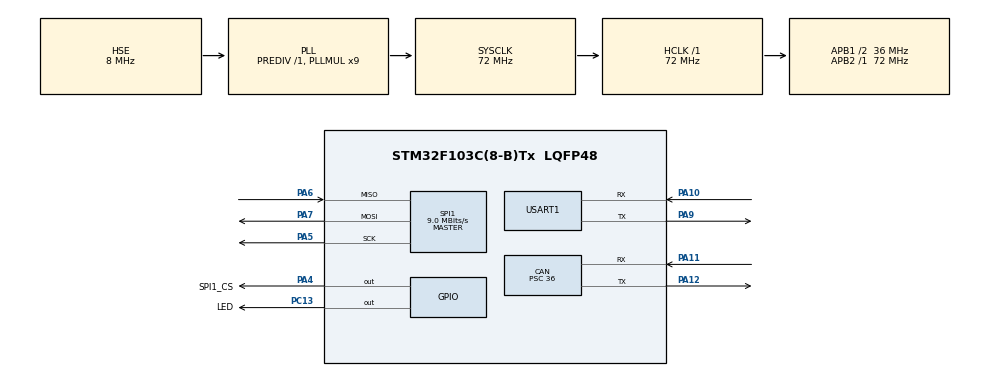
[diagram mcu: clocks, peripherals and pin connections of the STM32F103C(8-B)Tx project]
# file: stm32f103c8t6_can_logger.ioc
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CAN.BS1=CAN_BS1_3TQ
CAN.BS2=CAN_BS2_4TQ
CAN.CalculateBaudRate=125000
CAN.CalculateTimeBit=8000
CAN.CalculateTimeQuantum=1000.0
CAN.Prescaler=36
Mcu.Family=STM32F1
Mcu.Name=STM32F103C(8-B)Tx
Mcu.Package=LQFP48
NVIC.PriorityGroup=NVIC_PRIORITYGROUP_4
NVIC.USB_LP_CAN1_RX0_IRQn=true\:0\:0\:false\:false\:true\:true\:true\:true
PA10.Mode=Asynchronous
PA10.Signal=USART1_RX
PA11.Mode=CAN_Activate
PA11.Signal=CAN_RX
PA12.Mode=CAN_Activate
PA12.Signal=CAN_TX
PA4.GPIO_Label=SPI1_CS
PA4.GPIO_PuPd=GPIO_PULLUP
PA4.GPIO_Speed=GPIO_SPEED_FREQ_HIGH
PA4.Signal=GPIO_Output
PA5.Mode=Full_Duplex_Master
PA5.Signal=SPI1_SCK
PA6.Mode=Full_Duplex_Master
PA6.Signal=SPI1_MISO
PA7.Mode=Full_Duplex_Master
PA7.Signal=SPI1_MOSI
PA9.Mode=Asynchronous
PA9.Signal=USART1_TX
PC13-TAMPER-RTC.GPIO_Label=LED
PC13-TAMPER-RTC.GPIO_PuPd=GPIO_PULLUP
PC13-TAMPER-RTC.GPIO_Speed=GPIO_SPEED_FREQ_MEDIUM
PC13-TAMPER-RTC.Signal=GPIO_Output
PD0-OSC_IN.Mode=HSE-External-Oscillator
PD0-OSC_IN.Signal=RCC_OSC_IN
PD1-OSC_OUT.Mode=HSE-External-Oscillator
PD1-OSC_OUT.Signal=RCC_OSC_OUT
ProjectManager.HeapSize=0x200
ProjectManager.StackSize=0x400
ProjectManager.TargetToolchain=STM32CubeIDE
RCC.AHBFreq_Value=72000000
RCC.APB1CLKDivider=RCC_HCLK_DIV2
RCC.APB1Freq_Value=36000000
RCC.APB1TimFreq_Value=72000000
RCC.APB2Freq_Value=72000000
RCC.APB2TimFreq_Value=72000000
RCC.HCLKFreq_Value=72000000
RCC.PLLMUL=RCC_PLL_MUL9
RCC.PLLSourceVirtual=RCC_PLLSOURCE_HSE
RCC.SYSCLKFreq_VALUE=72000000
RCC.SYSCLKSource=RCC_SYSCLKSOURCE_PLLCLK
RCC.USBFreq_Value=72000000
SPI1.BaudRatePrescaler=SPI_BAUDRATEPRESCALER_8
SPI1.CalculateBaudRate=9.0 MBits/s
SPI1.Direction=SPI_DIRECTION_2LINES
SPI1.Mode=SPI_MODE_MASTER
SPI1.VirtualType=VM_MASTER
USART1.VirtualMode=VM_ASYNC
VP_FATFS_VS_Generic.Mode=User_defined
board=custom

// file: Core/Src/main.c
/* USER CODE BEGIN Header */
/**
  ******************************************************************************
  * @file           : main.c
  * @brief          : Main program body
  ******************************************************************************
  * @attention
  *
  * Copyright (c) 2022 STMicroelectronics.
  * All rights reserved.
  *
  * This software is licensed under terms that can be found in the LICENSE file
  * in the root directory of this software component.
  * If no LICENSE file comes with this software, it is provided AS-IS.
  *
  ******************************************************************************
  */
/* USER CODE END Header */
#include "main.h"
#include "fatfs.h"

/* USER CODE BEGIN Includes */
#include "bsp_board.h"
#include "Open_SAE_J1939.h"
#include "Application_Layer.h"
#include "Transport_Layer.h"
#include "string.h"
#include "stdio.h"
/* USER CODE END Includes */

/* USER CODE BEGIN PD */
#define DOUBLE_BUFFERS 2
#define MESSAGES_CAN 128
#define DOUBLE_BUFFER_SIZE 8 * MESSAGES_CAN // 128 mensajes de 8 bytes CAN
#define BUFFER_ID_CAN_SIZE (DOUBLE_BUFFER_SIZE / 8)
/* USER CODE END PD */

CAN_HandleTypeDef hcan;

SPI_HandleTypeDef hspi1;

UART_HandleTypeDef huart1;

/* USER CODE BEGIN PV */
J1939 j1939_handler;

FATFS fs;
FIL fp;
FRESULT res;
UINT brw;
UINT len = 0;
UINT written = 0;
uint8_t buffer[1024] = {0};
uint32_t offset_data = 0;
uint32_t offset_id = 0;

uint32_t id_can = 0;
uint8_t data_can[8] = {0};
uint8_t data_can_size = 0;
volatile bool is_new_message = false;
uint32_t menssages = 0;

uint32_t i = 0;
uint8_t double_buffer_data[DOUBLE_BUFFERS][DOUBLE_BUFFER_SIZE] = {0};
uint32_t double_buffer_id[DOUBLE_BUFFERS][BUFFER_ID_CAN_SIZE] = {0};
uint32_t selected_buffer = 0;
#define BUFFER_DATA double_buffer_data[selected_buffer^1]
#define BUFFER_ID double_buffer_id[selected_buffer^1]
/* USER CODE END PV */

void SystemClock_Config(void);
static void MX_GPIO_Init(void);
static void MX_CAN_Init(void);
static void MX_USART1_UART_Init(void);
static void MX_SPI1_Init(void);
/* USER CODE BEGIN PFP */
int string_format_log(uint8_t *dst_string, uint32_t counts, const uint32_t id, const uint8_t *payload, const uint16_t size);

/* USER CODE END PFP */

int main(void)
{

  /* MCU Configuration--------------------------------------------------------*/

  /* Reset of all peripherals, Initializes the Flash interface and the Systick. */
  HAL_Init();

  /* Configure the system clock */
  SystemClock_Config();

  /* Initialize all configured peripherals */
  MX_GPIO_Init();
  MX_CAN_Init();
  MX_USART1_UART_Init();
  MX_SPI1_Init();
  MX_FATFS_Init();
  /* USER CODE BEGIN 2 */

	if(BSP_SUCCESS != bsp_uart_init((uint32_t *)&huart1))
		while(1) HAL_GPIO_WritePin(LED_GPIO_Port, LED_Pin, SET);

	if(BSP_SUCCESS != bsp_can_init((uint32_t *)&hcan))
		while(1) HAL_GPIO_WritePin(LED_GPIO_Port, LED_Pin, SET);

	printf("start logger can\r\n");

	res = f_mount(&fs, "", 0);

	if(FR_OK != f_open(&fp, "log_can.txt", FA_OPEN_EXISTING | FA_READ | FA_WRITE))
	{
		if(FR_OK != f_open(&fp, "log_can.txt", FA_CREATE_ALWAYS | FA_READ | FA_WRITE))
			while(1) printf("...\r\n");
	}

	f_lseek(&fp, f_size(&fp));	// me desplazo al final del archivo.
	f_close(&fp);				// cierro el archivo.
	printf("Open file OK\r\n");

  /* USER CODE END 2 */

  /* Infinite loop */
  /* USER CODE BEGIN WHILE */
  while (1)
  {
#if 0
	  f_open(&fp, "log_can.txt", FA_OPEN_EXISTING | FA_READ | FA_WRITE);
	  f_lseek(&fp, f_size(&fp));
	  len = string_format_log(buffer, menssages++, id_can, data_can, 8);
	  f_write(&fp, buffer, len, &written);

	  if(len != written)
		  printf("Error al escribit en la memoria\r\n");

	  HAL_GPIO_TogglePin(LED_GPIO_Port, LED_Pin);
	  f_close(&fp);
#else
	  if(true == is_new_message)
	  {
		  is_new_message = false;

		  f_open(&fp, "log_can.txt", FA_OPEN_EXISTING | FA_READ | FA_WRITE);
		  f_lseek(&fp, f_size(&fp));

		  for(i = 0; i < MESSAGES_CAN; i++)
		  {
			  len = string_format_log(buffer, menssages++, BUFFER_ID[i], BUFFER_DATA + i * 8, 8);
			  f_write(&fp, buffer, len, &written);
		  }

		  HAL_GPIO_TogglePin(LED_GPIO_Port, LED_Pin);
		  f_close(&fp);
	  }

#endif
    /* USER CODE END WHILE */

  }
}

void SystemClock_Config(void)
{
  RCC_OscInitTypeDef RCC_OscInitStruct = {0};
  RCC_ClkInitTypeDef RCC_ClkInitStruct = {0};

  /** Initializes the RCC Oscillators according to the specified parameters
  * in the RCC_OscInitTypeDef structure.
  */
  RCC_OscInitStruct.OscillatorType = RCC_OSCILLATORTYPE_HSE;
  RCC_OscInitStruct.HSEState = RCC_HSE_ON;
  RCC_OscInitStruct.HSEPredivValue = RCC_HSE_PREDIV_DIV1;
  RCC_OscInitStruct.HSIState = RCC_HSI_ON;
  RCC_OscInitStruct.PLL.PLLState = RCC_PLL_ON;
  RCC_OscInitStruct.PLL.PLLSource = RCC_PLLSOURCE_HSE;
  RCC_OscInitStruct.PLL.PLLMUL = RCC_PLL_MUL9;
  if (HAL_RCC_OscConfig(&RCC_OscInitStruct) != HAL_OK)
  {
    Error_Handler();
  }

  /** Initializes the CPU, AHB and APB buses clocks
  */
  RCC_ClkInitStruct.ClockType = RCC_CLOCKTYPE_HCLK|RCC_CLOCKTYPE_SYSCLK
                              |RCC_CLOCKTYPE_PCLK1|RCC_CLOCKTYPE_PCLK2;
  RCC_ClkInitStruct.SYSCLKSource = RCC_SYSCLKSOURCE_PLLCLK;
  RCC_ClkInitStruct.AHBCLKDivider = RCC_SYSCLK_DIV1;
  RCC_ClkInitStruct.APB1CLKDivider = RCC_HCLK_DIV2;
  RCC_ClkInitStruct.APB2CLKDivider = RCC_HCLK_DIV1;

  if (HAL_RCC_ClockConfig(&RCC_ClkInitStruct, FLASH_LATENCY_2) != HAL_OK)
  {
    Error_Handler();
  }
}

static void MX_CAN_Init(void)
{

  hcan.Instance = CAN1;
  hcan.Init.Prescaler = 36;
  hcan.Init.Mode = CAN_MODE_NORMAL;
  hcan.Init.SyncJumpWidth = CAN_SJW_1TQ;
  hcan.Init.TimeSeg1 = CAN_BS1_3TQ;
  hcan.Init.TimeSeg2 = CAN_BS2_4TQ;
  hcan.Init.TimeTriggeredMode = DISABLE;
  hcan.Init.AutoBusOff = DISABLE;
  hcan.Init.AutoWakeUp = DISABLE;
  hcan.Init.AutoRetransmission = DISABLE;
  hcan.Init.ReceiveFifoLocked = DISABLE;
  hcan.Init.TransmitFifoPriority = DISABLE;
  if (HAL_CAN_Init(&hcan) != HAL_OK)
  {
    Error_Handler();
  }

}

static void MX_SPI1_Init(void)
{

  /* SPI1 parameter configuration*/
  hspi1.Instance = SPI1;
  hspi1.Init.Mode = SPI_MODE_MASTER;
  hspi1.Init.Direction = SPI_DIRECTION_2LINES;
  hspi1.Init.DataSize = SPI_DATASIZE_8BIT;
  hspi1.Init.CLKPolarity = SPI_POLARITY_LOW;
  hspi1.Init.CLKPhase = SPI_PHASE_1EDGE;
  hspi1.Init.NSS = SPI_NSS_SOFT;
  hspi1.Init.BaudRatePrescaler = SPI_BAUDRATEPRESCALER_8;
  hspi1.Init.FirstBit = SPI_FIRSTBIT_MSB;
  hspi1.Init.TIMode = SPI_TIMODE_DISABLE;
  hspi1.Init.CRCCalculation = SPI_CRCCALCULATION_DISABLE;
  hspi1.Init.CRCPolynomial = 10;
  if (HAL_SPI_Init(&hspi1) != HAL_OK)
  {
    Error_Handler();
  }

}

static void MX_USART1_UART_Init(void)
{

  huart1.Instance = USART1;
  huart1.Init.BaudRate = 115200;
  huart1.Init.WordLength = UART_WORDLENGTH_8B;
  huart1.Init.StopBits = UART_STOPBITS_1;
  huart1.Init.Parity = UART_PARITY_NONE;
  huart1.Init.Mode = UART_MODE_TX_RX;
  huart1.Init.HwFlowCtl = UART_HWCONTROL_NONE;
  huart1.Init.OverSampling = UART_OVERSAMPLING_16;
  if (HAL_UART_Init(&huart1) != HAL_OK)
  {
    Error_Handler();
  }

}

static void MX_GPIO_Init(void)
{
  GPIO_InitTypeDef GPIO_InitStruct = {0};

  /* GPIO Ports Clock Enable */
  __HAL_RCC_GPIOC_CLK_ENABLE();
  __HAL_RCC_GPIOD_CLK_ENABLE();
  __HAL_RCC_GPIOA_CLK_ENABLE();

  /*Configure GPIO pin Output Level */
  HAL_GPIO_WritePin(LED_GPIO_Port, LED_Pin, GPIO_PIN_RESET);

  /*Configure GPIO pin Output Level */
  HAL_GPIO_WritePin(SPI1_CS_GPIO_Port, SPI1_CS_Pin, GPIO_PIN_RESET);

  /*Configure GPIO pin : LED_Pin */
  GPIO_InitStruct.Pin = LED_Pin;
  GPIO_InitStruct.Mode = GPIO_MODE_OUTPUT_PP;
  GPIO_InitStruct.Pull = GPIO_PULLUP;
  GPIO_InitStruct.Speed = GPIO_SPEED_FREQ_MEDIUM;
  HAL_GPIO_Init(LED_GPIO_Port, &GPIO_InitStruct);

  /*Configure GPIO pin : SPI1_CS_Pin */
  GPIO_InitStruct.Pin = SPI1_CS_Pin;
  GPIO_InitStruct.Mode = GPIO_MODE_OUTPUT_PP;
  GPIO_InitStruct.Pull = GPIO_PULLUP;
  GPIO_InitStruct.Speed = GPIO_SPEED_FREQ_HIGH;
  HAL_GPIO_Init(SPI1_CS_GPIO_Port, &GPIO_InitStruct);

}

/* USER CODE BEGIN 4 */
int string_format_log(uint8_t *dst_string, uint32_t counts, const uint32_t id, const uint8_t *payload, const uint16_t size)
{
    uint8_t outstr[1024] = {0};
    uint8_t * p = outstr;

    // ID CAN Format
    p += sprintf((char *)p, "%d-ID:0x%.8X|", (unsigned int)counts, (unsigned int)id);

    // Payload CAN Format
    for (uint16_t i = 0; i < size; i++)
    {
        p += sprintf((char *)p, "0x%.2X", payload[i]);
        if( i <  (size - 1))
            p += sprintf((char *)p, ", ");
    }

    p += sprintf((char *)p, "\r\n");

    memcpy(dst_string, outstr, strlen((char *)outstr));

    return strlen((char *)outstr);
}

/* Overwrited method of stm32 hal "Interrupt handler that read message" */
void HAL_CAN_RxFifo0MsgPendingCallback(CAN_HandleTypeDef *hcan)
{
#if 0
	is_new_message =  bsp_can_get_id_data(&id_can, data_can, &data_can_size);
#else
	bsp_can_get_id_data((uint32_t *)&double_buffer_id[selected_buffer] + offset_id, (uint8_t *)&double_buffer_data[selected_buffer] + offset_data, &data_can_size);

	offset_data += 8;
	offset_id += 1;

	if(MESSAGES_CAN <= offset_id)
	{
		offset_data = 0;
		offset_id = 0;
		selected_buffer ^= 1;
		is_new_message = true;
	}

#endif
}

int _write(int file, char *ptr, int len)
{
	int data_inx;

	for(data_inx = 0; data_inx < len; data_inx++)
	{
		bsp_uart_write((uint8_t *)ptr++, 1);
	}

	return len;
}
/* USER CODE END 4 */

void Error_Handler(void)
{
  __disable_irq();
  while (1)
  {
  }
}
